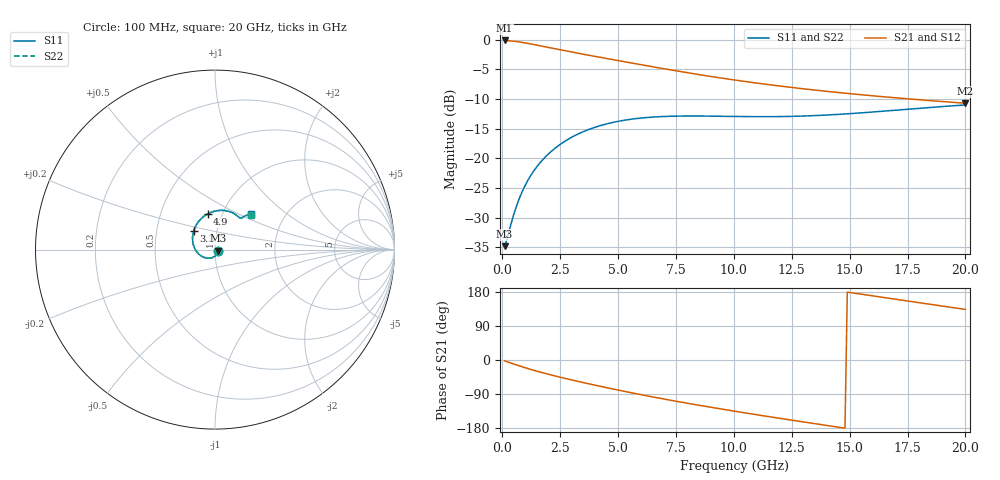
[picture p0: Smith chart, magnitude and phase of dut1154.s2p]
! Touchstone file exported from HFSS 2024.1.0
!  File:  C:/UserFiles/LocalFiles/RDL_TSV_Batchsim/temp_RDL_TSV_1154_1780118753.aedt
!  Generated:  01:41:33 PM May 30, 2026
!  Design:  RDL_TSV
!  Project:  temp_RDL_TSV_1154_1780118753
!  Setup:  Setup1
!  Solution:  Sweep
! Variables:
!  dtsv = 13.92um
!  hbump = 3um
!  htsv = 98.6um
!  ldown = 321.52um
!  lrdl = 479.8um
!  p = 40
!  p1 = 48.53um
!  rhole = 10um
!  subl = 2883.76um
!  t = 450um
!  tdown = 2.34um
!  trdl = 2.75um
!  viad = 10um
!  wdown = 18.24um
!  wrdl = 27.71um
!  xbump = 18um
# GHz S MA R 50.000000
! Terminal data exported
! Port[1] = TM1_1_T1
! Port[2] = TM1_4_T1
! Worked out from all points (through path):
!   200 points, 100 MHz to 20 GHz, reference 50 ohm
!   highest |S21| = -0.16 dB at 100 MHz (marker M1); lowest = -10.7 dB at 20 GHz (marker M2)
!   group delay of S21, straight-line fit = 29.6 ps
!   lowest |S11| = -34.8 dB at 100 MHz (marker M3), VSWR 1.04, Z = 51.7 - j0.705 ohm
!   |S11| at or under -10 dB: start of sweep to end of sweep
!   |S22| runs from -34.8 to -11.1 dB; largest |S21 - S12| = 9.5e-15
!   S11 on the Smith chart (normalised r, x): 100 MHz: 1.03, -0.01; 3.2 GHz: 0.77, +0.16; 4.9 GHz: 0.85, +0.35; 20 GHz: 1.36, +0.58
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0.1  0.01823 -21.9  0.9819 -2.2  0.9819 -2.2  0.01823 -21.9
! Gamma 0 0 0 0
! Port Impedance 50 0 50 0
0.5  0.03396 -84.4  0.9674 -10.7  0.9674 -10.7  0.03396 -84.4
0.7  0.04416 -103.7  0.9559 -14.8  0.9559 -14.8  0.04416 -103.7
1  0.05985 -126.6  0.9351 -20.6  0.9351 -20.6  0.05984 -126.5
1.3  0.07534 -145.3  0.9118 -26.1  0.9118 -26.1  0.0753 -145.2
1.7  0.09516 -166.3  0.8794 -33.0  0.8794 -33.0  0.09509 -166.2
2.1  0.1138 176.0  0.8478 -39.4  0.8478 -39.4  0.1137 176.1
2.6  0.1352 157.4  0.8108 -46.9  0.8108 -46.9  0.135 157.4
3.2  0.1578 138.9  0.7703 -55.5  0.7703 -55.5  0.1575 139.0
3.5  0.1678 131.0  0.7513 -59.6  0.7513 -59.6  0.1675 131.0
4.2  0.1877 115.0  0.7094 -69.1  0.7094 -69.1  0.1873 115.0
4.9  0.203 101.8  0.6702 -78.1  0.6702 -78.1  0.2025 101.8
5.9  0.2174 86.9  0.6182 -90.4  0.6182 -90.4  0.2168 86.9
6.8  0.2242 76.5  0.5756 -101.0  0.5756 -101.0  0.2236 76.5
8.4  0.2272 63.6  0.5101 -118.5  0.5101 -118.5  0.2265 63.6
10.1  0.225 55.7  0.4542 -135.8  0.4542 -135.8  0.2243 55.6
11.7  0.2243 52.0  0.4125 -151.3  0.4125 -151.3  0.2234 51.9
13.4  0.2285 50.4  0.3772 -167.1  0.3772 -167.1  0.2275 50.2
15  0.2376 49.5  0.3503 178.2  0.3503 178.2  0.2366 49.4
16.7  0.2516 48.3  0.3267 162.9  0.3267 162.9  0.2503 48.2
18.4  0.2673 46.5  0.3069 147.7  0.3069 147.7  0.2659 46.3
20  0.2814 44.2  0.2909 133.5  0.2909 133.5  0.2798 44.0
